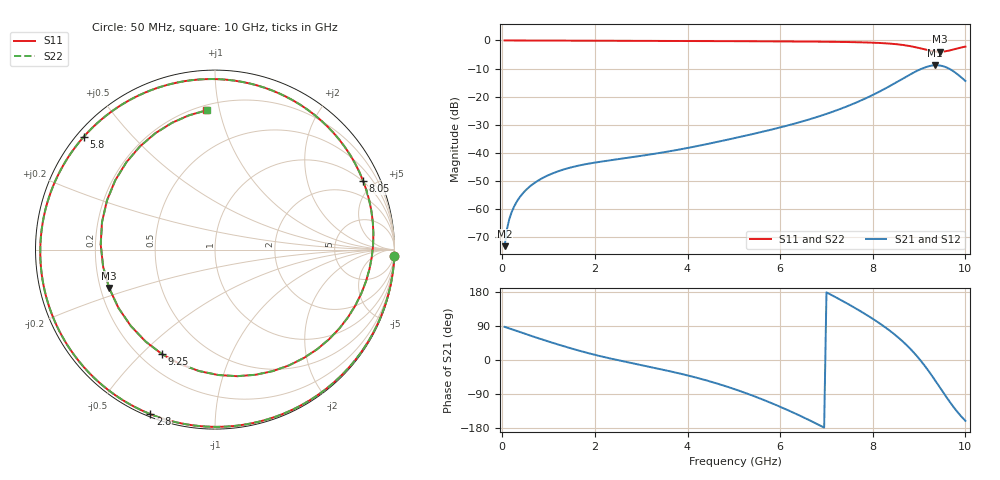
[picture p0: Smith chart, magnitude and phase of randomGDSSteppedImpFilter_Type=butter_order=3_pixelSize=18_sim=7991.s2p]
! freq	dB(S11)	phase(S11)	dB(S12)	phase(S12)
!  dB(S21)	phase(S21)	dB(S22)	phase(S22)
!S-par simulation data
#  GHz  S  DB  R 50
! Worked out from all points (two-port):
!   200 points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, 50 MHz to 10 GHz, reference 50 ohm
!   highest |S21| = -8.83 dB at 9.35 GHz (marker M1); lowest = -73.2 dB at 50 MHz (marker M2)
!   |S21| within 3 dB of the highest: 8.838 GHz to 9.814 GHz (976 MHz wide, 10.5 % of centre)
!   lowest |S11| = -4.0 dB at 9.45 GHz (marker M3), VSWR 4.37, Z = 11.8 - j8.33 ohm
!   |S11| at or under -10 dB: nowhere
!   |S22| runs from -4.1 to 0.0 dB; largest |S21 - S12| = 0
!   S11 on the Smith chart (normalised r, x): 50 MHz: 0, -53; 2.8 GHz: 0.01, -0.68; 5.8 GHz: 0.02, +0.37; 8.05 GHz: 0.98, +4.35; 9.25 GHz: 0.28, -0.58; 10 GHz: 0.23, +0.91
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0.05  -0.00 -2.1  -73.20 87.5  -73.20 87.5  -0.00 -2.1
0.1  -0.00 -4.3  -67.18 85.6  -67.18 85.6  -0.00 -4.3
0.2  -0.01 -8.5  -61.19 81.4  -61.19 81.4  -0.01 -8.5
0.5  -0.03 -21.2  -53.39 68.8  -53.39 68.8  -0.03 -21.2
1  -0.05 -42.0  -47.90 48.7  -47.90 48.7  -0.05 -42.0
1.75  -0.09 -72.0  -44.18 21.6  -44.18 21.6  -0.09 -72.0
2.8  -0.13 -111.5  -41.54 -8.3  -41.54 -8.3  -0.13 -111.5
3.4  -0.16 -133.0  -40.02 -23.8  -40.02 -23.8  -0.16 -133.0
4.25  -0.20 -163.0  -37.45 -48.5  -37.45 -48.5  -0.20 -163.0
5.05  -0.26 168.1  -34.63 -78.3  -34.63 -78.3  -0.26 168.1
5.8  -0.32 139.2  -31.77 -113.1  -31.77 -113.1  -0.32 139.2
6.7  -0.41 100.4  -27.73 -163.0  -27.73 -163.0  -0.41 100.4
7.4  -0.54 65.0  -23.73 152.3  -23.73 152.3  -0.54 65.0
8.05  -0.82 24.7  -18.99 104.7  -18.99 104.7  -0.82 24.8
8.35  -1.10 1.6  -16.39 79.0  -16.39 79.0  -1.10 1.6
8.65  -1.60 -26.9  -13.58 48.6  -13.58 48.6  -1.60 -26.9
8.9  -2.32 -57.5  -11.28 17.7  -11.28 17.7  -2.32 -57.4
9.25  -3.70 -116.7  -9.03 -36.7  -9.03 -36.7  -3.70 -116.7
9.35  -3.97 -137.8  -8.83 -54.4  -8.83 -54.4  -3.97 -137.8
9.45  -4.05 -160.0  -8.92 -72.6  -8.92 -72.6  -4.05 -160.1
9.7  -3.39 145.3  -10.53 -116.9  -10.53 -116.9  -3.39 145.2
10  -2.19 93.6  -14.41 -160.5  -14.41 -160.5  -2.19 93.5
